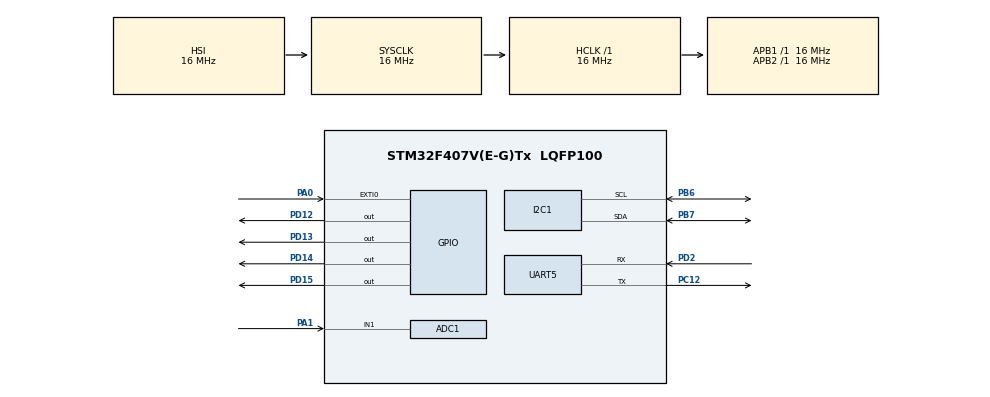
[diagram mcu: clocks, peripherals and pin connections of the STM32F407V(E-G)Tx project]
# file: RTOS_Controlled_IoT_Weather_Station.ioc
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ADC1.Channel-0\#ChannelRegularConversion=ADC_CHANNEL_1
ADC1.NbrOfConversionFlag=1
ADC1.Rank-0\#ChannelRegularConversion=1
ADC1.SamplingTime-0\#ChannelRegularConversion=ADC_SAMPLETIME_3CYCLES
ADC1.master=1
Dma.Request0=UART5_RX
Dma.Request1=UART5_TX
Dma.UART5_RX.0.Direction=DMA_PERIPH_TO_MEMORY
Dma.UART5_RX.0.FIFOMode=DMA_FIFOMODE_DISABLE
Dma.UART5_RX.0.Instance=DMA1_Stream0
Dma.UART5_RX.0.MemDataAlignment=DMA_MDATAALIGN_BYTE
Dma.UART5_RX.0.MemInc=DMA_MINC_ENABLE
Dma.UART5_RX.0.Mode=DMA_NORMAL
Dma.UART5_RX.0.PeriphDataAlignment=DMA_PDATAALIGN_BYTE
Dma.UART5_RX.0.PeriphInc=DMA_PINC_DISABLE
Dma.UART5_RX.0.Priority=DMA_PRIORITY_LOW
Dma.UART5_TX.1.Direction=DMA_MEMORY_TO_PERIPH
Dma.UART5_TX.1.FIFOMode=DMA_FIFOMODE_DISABLE
Dma.UART5_TX.1.Instance=DMA1_Stream7
Dma.UART5_TX.1.MemDataAlignment=DMA_MDATAALIGN_BYTE
Dma.UART5_TX.1.MemInc=DMA_MINC_ENABLE
Dma.UART5_TX.1.Mode=DMA_NORMAL
Dma.UART5_TX.1.PeriphDataAlignment=DMA_PDATAALIGN_BYTE
Dma.UART5_TX.1.PeriphInc=DMA_PINC_DISABLE
Dma.UART5_TX.1.Priority=DMA_PRIORITY_LOW
I2C1.AddressingMode=I2C_ADDRESSINGMODE_10BIT
I2C1.OwnAddress=0xEC
Mcu.Family=STM32F4
Mcu.Name=STM32F407V(E-G)Tx
Mcu.Package=LQFP100
NVIC.DMA1_Stream0_IRQn=true\:0\:0\:false\:false\:true\:false\:true\:true
NVIC.DMA1_Stream7_IRQn=true\:0\:0\:false\:false\:true\:false\:true\:true
NVIC.EXTI0_IRQn=true\:0\:0\:false\:false\:true\:true\:true\:true
NVIC.PriorityGroup=NVIC_PRIORITYGROUP_4
NVIC.TIM1_UP_TIM10_IRQn=true\:15\:0\:false\:false\:true\:false\:true\:true
NVIC.TimeBase=TIM1_UP_TIM10_IRQn
NVIC.TimeBaseIP=TIM1
PA0-WKUP.Signal=GPXTI0
PA1.GPIO_PuPd=GPIO_NOPULL
PA1.Signal=ADCx_IN1
PB6.Mode=I2C
PB6.Signal=I2C1_SCL
PB7.Mode=I2C
PB7.Signal=I2C1_SDA
PC12.Mode=Asynchronous
PC12.Signal=UART5_TX
PD12.Signal=GPIO_Output
PD13.Signal=GPIO_Output
PD14.Signal=GPIO_Output
PD15.Signal=GPIO_Output
PD2.Mode=Asynchronous
PD2.Signal=UART5_RX
ProjectManager.HeapSize=0x200
ProjectManager.StackSize=0x400
ProjectManager.TargetToolchain=STM32CubeIDE
RCC.AHBFreq_Value=16000000
RCC.APB1Freq_Value=16000000
RCC.APB2Freq_Value=16000000
RCC.CortexFreq_Value=16000000
RCC.HSE_VALUE=25000000
RCC.HSI_VALUE=16000000
RCC.LSE_VALUE=32768
RCC.SYSCLKFreq_VALUE=16000000
RCC.VCOOutputFreq_Value=192000000
SH.ADCx_IN1.0=ADC1_IN1,IN1
UART5.VirtualMode=Asynchronous
VP_SYS_VS_tim1.Mode=TIM1
board=custom

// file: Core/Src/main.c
/********************************************************************************
  * @file           : main.c
  * @brief          : Main program body
  ******************************************************************************
  * @attention
  *
  * Copyright (c) 2025 STMicroelectronics.
  * All rights reserved.
  *
  * This software is licensed under terms that can be found in the LICENSE file
  * in the root directory of this software component.
  * If no LICENSE file comes with this software, it is provided AS-IS.
  *
  ******************************************************************************
  */
/* USER CODE END Header */
#include "main.h"

/* USER CODE BEGIN Includes */
#include "stdio.h"
#include "stdlib.h"
#include "string.h"
#include "math.h"

#include "FreeRTOS.h"
#include "task.h"
#include "timers.h"
#include "queue.h"
#include "semphr.h"
#include "event_groups.h"
#include "SEGGER_SYSVIEW.h"

#include "BME280_STM32.h"

#include "struct.h"

/* USER CODE END Includes */

/* USER CODE BEGIN PD */
#define ADC_READINGS 5
#define CRC8_POLYNOMIAL 0x07  // Standard SMBus CRC-8
#define CRC8_INIT 0xFF        // Initial CRC value
#define RL 10.0  // Load resistor in kΩ

// CO2 Constants
#define A_CO2 116.6020682
#define B_CO2 -2.769034857
#define R0_CO2 47.50
// Ammonia (NH3) Constants
#define A_NH3 102.2
#define B_NH3 -2.473
#define R0_NH3 1.86
// Ethanol Constants
#define A_Ethanol 77.255
#define B_Ethanol -3.18
#define R0_Ethanol 3.75

/* USER CODE END PD */

ADC_HandleTypeDef hadc1;

I2C_HandleTypeDef hi2c1;

UART_HandleTypeDef huart5;
DMA_HandleTypeDef hdma_uart5_rx;
DMA_HandleTypeDef hdma_uart5_tx;

/* USER CODE BEGIN PV */

// Task Handles
//Sensordata_t SD;//Already defined in struct.h for actual data holding so no need to define here.
Sensordata_t SensorData;//defined in struct.h for data use in the tasks

SemaphoreHandle_t SensorDataMutex;

TaskHandle_t SensorTaskHandle;
TaskHandle_t DisplayTaskHandle;
TaskHandle_t UartTaskHandle;

volatile uint8_t buttonPressed = 0;

/* USER CODE END PV */

void SystemClock_Config(void);
static void MX_GPIO_Init(void);
static void MX_DMA_Init(void);
static void MX_ADC1_Init(void);
static void MX_I2C1_Init(void);
static void MX_UART5_Init(void);
/* USER CODE BEGIN PFP */
void Task_SensorRead(void *pvParameters);
void Task_DisplayUpdate(void *pvParameters);
void Task_UARTSend(void *pvParameters);
void HAL_GPIO_EXTI_Callback(uint16_t GPIO_Pin);
uint8_t Calculate_CRC8(const uint8_t *data, uint8_t len);
void vApplicationMallocFailedHook(void);
float calculate_ppm(float, float, float, float);

/* USER CODE END PFP */

int main(void)
{

  /* MCU Configuration--------------------------------------------------------*/

  /* Reset of all peripherals, Initializes the Flash interface and the Systick. */
  HAL_Init();

  /* Configure the system clock */
  SystemClock_Config();

  /* Initialize all configured peripherals */
  MX_GPIO_Init();
  MX_DMA_Init();
  MX_ADC1_Init();
  MX_I2C1_Init();
  MX_UART5_Init();
  /* USER CODE BEGIN 2 */

  SEGGER_SYSVIEW_Conf();
  HAL_NVIC_SetPriorityGrouping(NVIC_PRIORITYGROUP_4);	//ensure proper priority grouping for freeRTOS//?
  HAL_NVIC_SetPriority(SysTick_IRQn, 15, 0);//?

  // Initialize BME280
  BME280_Config(OSRS_2, OSRS_16, OSRS_1, MODE_NORMAL, T_SB_0p5, IIR_16);

  // Create RTOS Queue & Semaphore
  SensorDataMutex = xSemaphoreCreateMutex();
  assert_param(SensorDataMutex!=NULL);

  /* Create RTOS Tasks */
  assert_param(xTaskCreate(Task_SensorRead, "SensorTask", 1024, NULL, 3, &SensorTaskHandle) == pdPASS);
  assert_param(xTaskCreate(Task_DisplayUpdate, "DisplayTask", 1024, NULL, 2, &DisplayTaskHandle) == pdPASS);
  assert_param(xTaskCreate(Task_UARTSend, "UartTask", 1024, NULL, 1, &UartTaskHandle) == pdPASS);

  /* Start Scheduler */
  vTaskStartScheduler();

  /* USER CODE END 2 */

  /* Infinite loop */
  while (1)
  {

  }
}

void SystemClock_Config(void)
{
  RCC_OscInitTypeDef RCC_OscInitStruct = {0};
  RCC_ClkInitTypeDef RCC_ClkInitStruct = {0};

  /** Configure the main internal regulator output voltage
  */
  __HAL_RCC_PWR_CLK_ENABLE();
  __HAL_PWR_VOLTAGESCALING_CONFIG(PWR_REGULATOR_VOLTAGE_SCALE1);

  /** Initializes the RCC Oscillators according to the specified parameters
  * in the RCC_OscInitTypeDef structure.
  */
  RCC_OscInitStruct.OscillatorType = RCC_OSCILLATORTYPE_HSI;
  RCC_OscInitStruct.HSIState = RCC_HSI_ON;
  RCC_OscInitStruct.HSICalibrationValue = RCC_HSICALIBRATION_DEFAULT;
  RCC_OscInitStruct.PLL.PLLState = RCC_PLL_NONE;
  if (HAL_RCC_OscConfig(&RCC_OscInitStruct) != HAL_OK)
  {
    Error_Handler();
  }

  /** Initializes the CPU, AHB and APB buses clocks
  */
  RCC_ClkInitStruct.ClockType = RCC_CLOCKTYPE_HCLK|RCC_CLOCKTYPE_SYSCLK
                              |RCC_CLOCKTYPE_PCLK1|RCC_CLOCKTYPE_PCLK2;
  RCC_ClkInitStruct.SYSCLKSource = RCC_SYSCLKSOURCE_HSI;
  RCC_ClkInitStruct.AHBCLKDivider = RCC_SYSCLK_DIV1;
  RCC_ClkInitStruct.APB1CLKDivider = RCC_HCLK_DIV1;
  RCC_ClkInitStruct.APB2CLKDivider = RCC_HCLK_DIV1;

  if (HAL_RCC_ClockConfig(&RCC_ClkInitStruct, FLASH_LATENCY_0) != HAL_OK)
  {
    Error_Handler();
  }
}

static void MX_ADC1_Init(void)
{

  ADC_ChannelConfTypeDef sConfig = {0};

  /** Configure the global features of the ADC (Clock, Resolution, Data Alignment and number of conversion)
  */
  hadc1.Instance = ADC1;
  hadc1.Init.ClockPrescaler = ADC_CLOCK_SYNC_PCLK_DIV2;
  hadc1.Init.Resolution = ADC_RESOLUTION_12B;
  hadc1.Init.ScanConvMode = DISABLE;
  hadc1.Init.ContinuousConvMode = DISABLE;
  hadc1.Init.DiscontinuousConvMode = DISABLE;
  hadc1.Init.ExternalTrigConvEdge = ADC_EXTERNALTRIGCONVEDGE_NONE;
  hadc1.Init.ExternalTrigConv = ADC_SOFTWARE_START;
  hadc1.Init.DataAlign = ADC_DATAALIGN_RIGHT;
  hadc1.Init.NbrOfConversion = 1;
  hadc1.Init.DMAContinuousRequests = DISABLE;
  hadc1.Init.EOCSelection = ADC_EOC_SINGLE_CONV;
  if (HAL_ADC_Init(&hadc1) != HAL_OK)
  {
    Error_Handler();
  }

  /** Configure for the selected ADC regular channel its corresponding rank in the sequencer and its sample time.
  */
  sConfig.Channel = ADC_CHANNEL_1;
  sConfig.Rank = 1;
  sConfig.SamplingTime = ADC_SAMPLETIME_3CYCLES;
  if (HAL_ADC_ConfigChannel(&hadc1, &sConfig) != HAL_OK)
  {
    Error_Handler();
  }

}

static void MX_I2C1_Init(void)
{

  hi2c1.Instance = I2C1;
  hi2c1.Init.ClockSpeed = 100000;
  hi2c1.Init.DutyCycle = I2C_DUTYCYCLE_2;
  hi2c1.Init.OwnAddress1 = 236;
  hi2c1.Init.AddressingMode = I2C_ADDRESSINGMODE_10BIT;
  hi2c1.Init.DualAddressMode = I2C_DUALADDRESS_DISABLE;
  hi2c1.Init.OwnAddress2 = 0;
  hi2c1.Init.GeneralCallMode = I2C_GENERALCALL_DISABLE;
  hi2c1.Init.NoStretchMode = I2C_NOSTRETCH_DISABLE;
  if (HAL_I2C_Init(&hi2c1) != HAL_OK)
  {
    Error_Handler();
  }

}

static void MX_UART5_Init(void)
{

  huart5.Instance = UART5;
  huart5.Init.BaudRate = 115200;
  huart5.Init.WordLength = UART_WORDLENGTH_8B;
  huart5.Init.StopBits = UART_STOPBITS_1;
  huart5.Init.Parity = UART_PARITY_NONE;
  huart5.Init.Mode = UART_MODE_TX_RX;
  huart5.Init.HwFlowCtl = UART_HWCONTROL_NONE;
  huart5.Init.OverSampling = UART_OVERSAMPLING_16;
  if (HAL_UART_Init(&huart5) != HAL_OK)
  {
    Error_Handler();
  }

}

static void MX_DMA_Init(void)
{

  /* DMA controller clock enable */
  __HAL_RCC_DMA1_CLK_ENABLE();

  /* DMA interrupt init */
  /* DMA1_Stream0_IRQn interrupt configuration */
  HAL_NVIC_SetPriority(DMA1_Stream0_IRQn, 0, 0);
  HAL_NVIC_EnableIRQ(DMA1_Stream0_IRQn);
  /* DMA1_Stream7_IRQn interrupt configuration */
  HAL_NVIC_SetPriority(DMA1_Stream7_IRQn, 0, 0);
  HAL_NVIC_EnableIRQ(DMA1_Stream7_IRQn);

}

static void MX_GPIO_Init(void)
{
  GPIO_InitTypeDef GPIO_InitStruct = {0};

  /* GPIO Ports Clock Enable */
  __HAL_RCC_GPIOA_CLK_ENABLE();
  __HAL_RCC_GPIOD_CLK_ENABLE();
  __HAL_RCC_GPIOC_CLK_ENABLE();
  __HAL_RCC_GPIOB_CLK_ENABLE();

  /*Configure GPIO pin Output Level */
  HAL_GPIO_WritePin(GPIOD, GPIO_PIN_12|GPIO_PIN_13|GPIO_PIN_14|GPIO_PIN_15, GPIO_PIN_RESET);

  /*Configure GPIO pin : PA0 */
  GPIO_InitStruct.Pin = GPIO_PIN_0;
  GPIO_InitStruct.Mode = GPIO_MODE_IT_RISING;
  GPIO_InitStruct.Pull = GPIO_NOPULL;
  HAL_GPIO_Init(GPIOA, &GPIO_InitStruct);

  /*Configure GPIO pins : PD12 PD13 PD14 PD15 */
  GPIO_InitStruct.Pin = GPIO_PIN_12|GPIO_PIN_13|GPIO_PIN_14|GPIO_PIN_15;
  GPIO_InitStruct.Mode = GPIO_MODE_OUTPUT_PP;
  GPIO_InitStruct.Pull = GPIO_NOPULL;
  GPIO_InitStruct.Speed = GPIO_SPEED_FREQ_LOW;
  HAL_GPIO_Init(GPIOD, &GPIO_InitStruct);

  /* EXTI interrupt init*/
  HAL_NVIC_SetPriority(EXTI0_IRQn, 0, 0);
  HAL_NVIC_EnableIRQ(EXTI0_IRQn);

}

/* USER CODE BEGIN 4 */
void Task_SensorRead(void *pvParameters)
{
    while (1)
    {
    	SEGGER_SYSVIEW_PrintfHost("Task %s is running", pcTaskGetName(NULL));

        BME280_Measure();
        HAL_ADC_Start(&hadc1);

        if (HAL_ADC_PollForConversion(&hadc1, 10) == HAL_OK)
        {
            SD.ADC_Value = HAL_ADC_GetValue(&hadc1);
        }

        SD.mq135_voltage = (SD.ADC_Value * 5.0) / 4095.0;
        SD.Rs = ((5.0 - SD.mq135_voltage) / SD.mq135_voltage) * RL;

        SD.Co2     = calculate_ppm(SD.Rs, R0_CO2, A_CO2, B_CO2);
        SD.NH3     = calculate_ppm(SD.Rs, R0_NH3, A_NH3, B_NH3);
        SD.Ethanol = calculate_ppm(SD.Rs, R0_Ethanol, A_Ethanol, B_Ethanol);
        SD.AQI = ((SD.Co2 / 10) * 0.5) + ((SD.NH3 * 100) * 0.25) + ((SD.Ethanol * 100) * 0.25);

        HAL_ADC_Stop(&hadc1);

    	xSemaphoreTake(SensorDataMutex, portMAX_DELAY);

    	SensorData= SD;

    	xSemaphoreGive(SensorDataMutex);

        vTaskDelay(500);
    }
}

void Task_DisplayUpdate(void *pvParameters)
{

    while (1)
    {
    	SEGGER_SYSVIEW_PrintfHost("Task %s is running", pcTaskGetName(NULL));

    	if (buttonPressed)
        {
    		 // Send button press event to ESP32
    		 char displayBuff[20];
    		 sprintf(displayBuff, "Button_Pressed:%d", buttonPressed);
    		 HAL_UART_Transmit(&huart5, (uint8_t *)displayBuff, strlen(displayBuff), 10);

    		 buttonPressed = 0;  // Reset button flag
        }

        vTaskDelay(100);
    }
}

void Task_UARTSend(void *pvParameters)
{

    while (1)
    {
    	SEGGER_SYSVIEW_PrintfHost("Task %s is running", pcTaskGetName(NULL));

    	char uartBuff[100];
    	uint8_t dataToSend[60];

    	xSemaphoreTake(SensorDataMutex, portMAX_DELAY);

        // Format sensor data as CSV
        sprintf(uartBuff, "@%.2f,%.2f,%.2f,%.2f,%.2f,%.2f,%.2f",
                SensorData.Temperature, SensorData.Pressure, SensorData.Humidity,
                SensorData.Co2, SensorData.NH3, SensorData.Ethanol, SensorData.AQI);

        xSemaphoreGive(SensorDataMutex);

        uint8_t crc = Calculate_CRC8((uint8_t *)uartBuff, strlen(uartBuff)); // Compute CRC

        sprintf(uartBuff + strlen(uartBuff), ",%02X,@", crc); // Append CRC & End Bits

        memcpy(dataToSend, uartBuff, strlen(uartBuff)); // Copy to send buffer

        HAL_UART_Transmit_DMA(&huart5, dataToSend, strlen((char *)dataToSend)); // Send over UART DMA

        vTaskDelay(1000);  // Direct value instead of pdMS_TO_TICKS(1000)
    }
}

void HAL_GPIO_EXTI_Callback(uint16_t GPIO_Pin)
{
    static uint32_t lastPressTime = 0;

    if (GPIO_Pin == GPIO_PIN_0)  // Button on PA0
    {
        if (HAL_GetTick() - lastPressTime > 100)  // Debounce check
        {
            buttonPressed++;
            if (buttonPressed > 5) buttonPressed = 1;

            HAL_Delay(50);  // Extra debounce delay
        }
        lastPressTime = HAL_GetTick();
    }
}

uint8_t Calculate_CRC8(const uint8_t *data, uint8_t len) {
    uint8_t crc = CRC8_INIT;

    for (uint8_t i = 0; i < len; i++) {
        crc ^= data[i];  // XOR with input byte

        for (uint8_t j = 0; j < 8; j++) {  // Process each bit
            if (crc & 0x80)  // If MSB is 1
                crc = (crc << 1) ^ CRC8_POLYNOMIAL;
            else
                crc = (crc << 1);
        }
    }
    return crc;  // Return final CRC
}

float calculate_ppm(float Rs, float R0, float A, float B)
{
    return A * pow((Rs / R0), B);
}

/* USER CODE END 4 */

void HAL_TIM_PeriodElapsedCallback(TIM_HandleTypeDef *htim)
{
  if (htim->Instance == TIM1) {
    HAL_IncTick();
  }
}

void Error_Handler(void)
{
  __disable_irq();
  while (1)
  {
  }
}

#ifdef  USE_FULL_ASSERT
/**
  * @brief  Reports the name of the source file and the source line number
  *         where the assert_param error has occurred.
  * @param  file: pointer to the source file name
  * @param  line: assert_param error line source number
  * @retval None
  */
void assert_failed(uint8_t *file, uint32_t line)
{
  /* USER CODE BEGIN 6 */
  /* User can add his own implementation to report the file name and line number,
     ex: printf("Wrong parameters value: file %s on line %d\r\n", file, line) */
	SEGGER_SYSVIEW_PrintfHost("Assertion Failed:file %s on line %d\r\n", file, line);
	while(1);

  /* USER CODE END 6 */
}
#endif /* USE_FULL_ASSERT */
